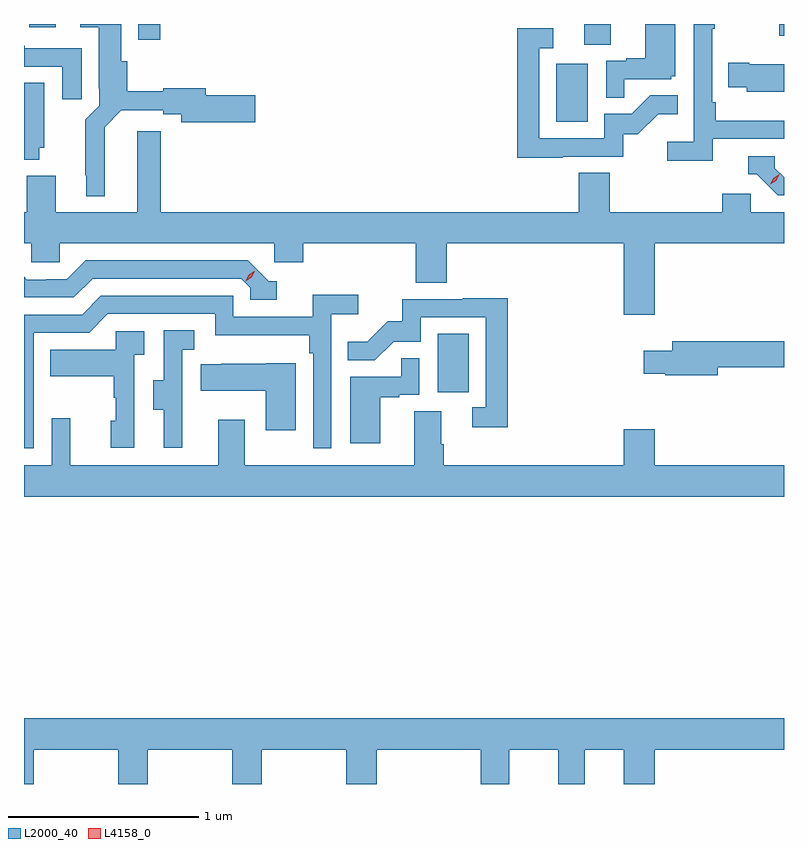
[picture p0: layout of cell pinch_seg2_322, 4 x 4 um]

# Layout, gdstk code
import gdstk
lib = gdstk.Library(unit=1e-6, precision=1e-09)
def R(c, l, rs):  # rectangles x0, y0, x1, y1
    for r in rs: c.add(gdstk.rectangle(r[:2], r[2:], *l))
def P(c, l, *ps):  # polygons
    for p in ps: c.add(gdstk.Polygon(p, *l))
L2000_40 = (2000, 40)
L4158_0 = (4158, 0)

pinch_seg2_322 = lib.new_cell('pinch_seg2_322')
R(pinch_seg2_322, L2000_40, [(943.25,633.534,943.414,633.841), (943.874,634.956,944.038,635.263), (944.021,635.362,944.161,635.471), (941.673,635.388,941.789,635.471), (945.046,635.409,945.072,635.471), (941.099,635.454,941.239,635.471)])
P(pinch_seg2_322, L2000_40, [(944.231,635.181),(944.478,635.181),(944.478,635.196),(944.5,635.196),(944.5,635.471),(944.342,635.471),(944.342,635.29),(944.243,635.29),(944.243,635.277),(944.136,635.277),(944.136,635.083),(944.231,635.083)],
  [(941.497,634.928),(941.584,635.016),(941.804,635.016),(941.804,634.996),(941.9,634.996),(941.9,634.954),(942.289,634.954),(942.289,635.096),(942.028,635.096),(942.028,635.132),(941.804,635.132),(941.804,635.117),(941.615,635.117),(941.615,635.274),(941.584,635.274),(941.584,635.471),(941.367,635.471),(941.367,635.453),(941.465,635.453),(941.465,635.134),(941.469,635.134),(941.469,635.04),(941.395,634.966),(941.395,634.675),(941.399,634.675),(941.399,634.565),(941.497,634.565)],
  [(944.696,634.866),(945.072,634.866),(945.072,634.963),(944.714,634.963),(944.714,635.059),(944.694,635.059),(944.694,635.447),(944.707,635.447),(944.707,635.471),(944.598,635.471),(944.598,634.852),(944.457,634.852),(944.457,634.75),(944.696,634.75)],
  [(943.907,634.773),(944.226,634.773),(944.226,634.89),(944.302,634.89),(944.409,634.997),(944.513,634.997),(944.513,635.096),(944.369,635.096),(944.271,634.998),(944.127,634.998),(944.127,634.869),(943.785,634.869),(943.785,635.343),(943.858,635.343),(943.858,635.449),(943.669,635.449),(943.669,634.768),(943.907,634.768)],
  [(941.377,635.343),(941.077,635.343),(941.077,635.356),(941.072,635.356),(941.072,635.247),(941.273,635.247),(941.273,635.076),(941.377,635.076)],
  [(945.072,635.26),(944.89,635.26),(944.89,635.268),(944.779,635.268),(944.779,635.138),(944.877,635.138),(944.877,635.114),(945.072,635.114)],
  [(941.152,634.821),(941.179,634.821),(941.179,635.162),(941.072,635.162),(941.072,634.757),(941.152,634.757)],
  [(941.109,634.218),(941.259,634.218),(941.259,634.316),(942.39,634.316),(942.39,634.218),(942.542,634.218),(942.542,634.316),(943.133,634.316),(943.133,634.108),(943.298,634.108),(943.298,634.316),(944.228,634.316),(944.228,633.942),(944.392,633.942),(944.392,634.316),(945.072,634.316),(945.072,634.48),(944.898,634.48),(944.898,634.578),(944.747,634.578),(944.747,634.48),(944.156,634.48),(944.156,634.688),(943.991,634.688),(943.991,634.48),(941.792,634.48),(941.792,634.906),(941.669,634.906),(941.669,634.48),(941.239,634.48),(941.239,634.672),(941.087,634.672),(941.087,634.48),(941.072,634.48),(941.072,634.316),(941.109,634.316)],
  [(945.072,634.665),(945.024,634.713),(945.024,634.776),(944.885,634.776),(944.885,634.68),(944.928,634.68),(945.039,634.569),(945.072,634.569)],
  [(942.403,634.116),(942.36,634.116),(942.249,634.227),(941.396,634.227),(941.297,634.128),(941.19,634.128),(941.19,634.125),(941.087,634.125),(941.072,634.14),(941.072,634.032),(941.334,634.032),(941.433,634.131),(942.216,634.131),(942.264,634.083),(942.264,634.02),(942.403,634.02)],
  [(941.124,633.846),(941.415,633.846),(941.514,633.945),(942.078,633.945),(942.078,633.833),(942.574,633.833),(942.574,633.737),(942.594,633.737),(942.594,633.237),(942.69,633.237),(942.69,633.944),(942.832,633.944),(942.832,634.046),(942.593,634.046),(942.593,633.93),(942.174,633.93),(942.174,634.041),(941.477,634.041),(941.378,633.942),(941.072,633.942),(941.072,633.237),(941.124,633.237)],
  [(943.619,634.028),(943.381,634.028),(943.381,634.023),(943.063,634.023),(943.063,633.906),(942.986,633.906),(942.879,633.799),(942.775,633.799),(942.775,633.7),(942.919,633.7),(943.017,633.798),(943.161,633.798),(943.161,633.927),(943.503,633.927),(943.503,633.453),(943.431,633.453),(943.431,633.348),(943.619,633.348)],
  [(941.906,633.453),(941.904,633.453),(941.904,633.757),(941.968,633.757),(941.968,633.86),(941.808,633.86),(941.808,633.597),(941.753,633.597),(941.753,633.442),(941.807,633.442),(941.807,633.24),(941.906,633.24)],
  [(941.652,633.731),(941.704,633.731),(941.704,633.855),(941.556,633.855),(941.556,633.757),(941.209,633.757),(941.209,633.617),(941.544,633.617),(941.544,633.503),(941.554,633.503),(941.554,633.384),(941.528,633.384),(941.528,633.24),(941.652,633.24)],
  [(944.722,633.664),(945.072,633.664),(945.072,633.8),(944.483,633.8),(944.483,633.751),(944.334,633.751),(944.334,633.629),(944.446,633.629),(944.446,633.622),(944.722,633.622)],
  [(942.946,633.507),(943.046,633.507),(943.046,633.519),(943.152,633.519),(943.152,633.713),(943.057,633.713),(943.057,633.615),(942.788,633.615),(942.788,633.264),(942.946,633.264)],
  [(942.502,633.685),(942.348,633.685),(942.348,633.682),(942.109,633.682),(942.109,633.679),(942.001,633.679),(942.001,633.542),(942.344,633.542),(942.344,633.333),(942.502,633.333)],
  [(944.228,633.337),(944.228,633.148),(943.28,633.148),(943.28,633.26),(943.267,633.26),(943.267,633.434),(943.127,633.434),(943.127,633.148),(942.235,633.148),(942.235,633.388),(942.095,633.388),(942.095,633.148),(941.315,633.148),(941.315,633.397),(941.217,633.397),(941.217,633.148),(941.072,633.148),(941.072,632.984),(945.072,632.984),(945.072,633.148),(944.392,633.148),(944.392,633.337)],
  [(941.124,631.652),(941.569,631.652),(941.569,631.471),(941.724,631.471),(941.724,631.652),(942.169,631.652),(942.169,631.471),(942.324,631.471),(942.324,631.652),(942.769,631.652),(942.769,631.471),(942.929,631.471),(942.929,631.652),(943.475,631.652),(943.475,631.471),(943.627,631.471),(943.627,631.652),(943.883,631.652),(943.883,631.471),(944.023,631.471),(944.023,631.652),(944.228,631.652),(944.228,631.471),(944.392,631.471),(944.392,631.652),(945.072,631.652),(945.072,631.816),(941.072,631.816),(941.072,631.471),(941.124,631.471)])
P(pinch_seg2_322, L4158_0, [(945,634.628),(945,634.628),(945.016,634.66),(945.047,634.68),(945.047,634.68),(945.047,634.679),(945.031,634.647),(945,634.628)],
  [(942.239,634.118),(942.239,634.118),(942.255,634.151),(942.285,634.171),(942.286,634.171),(942.286,634.17),(942.27,634.138),(942.239,634.118)])

lib.write_gds('pinch_seg2_322.gds')
